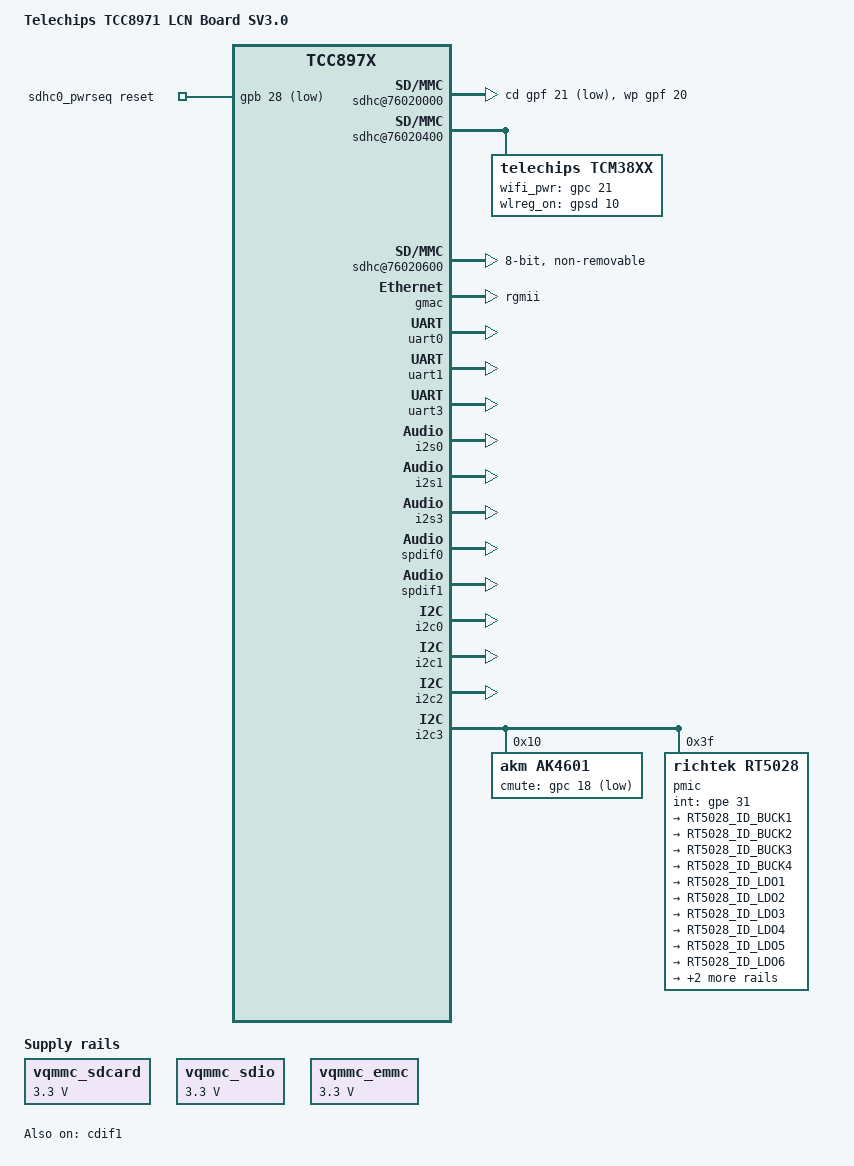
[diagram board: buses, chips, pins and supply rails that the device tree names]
// SPDX-License-Identifier: (GPL-2.0-or-later OR MIT)
/*
 * Copyright (C) Telechips Inc.
 */

/dts-v1/;

#include "tcc8971.dtsi"
#include "tcc8971-linux-display.dtsi"
#include <dt-bindings/pmap/tcc897x/pmap-tcc897x-linux-cluster.h>

/ {
	model = "Telechips TCC8971 LCN Board SV3.0";
	compatible = "telechips,tcc8971", "telechips,tcc897x";

	/* Describe board specific items, e.g. port map */

	/* for SD Card*/
	sdhc0_pwrseq: sdhc0_pwrseq {
		compatible = "mmc-pwrseq-simple";
		reset-gpios = <&gpb 28 1>;
	};

	vqmmc_sdcard: vqmmc_sdcard {
		compatible = "regulator-fixed";
		regulator-name = "vqmmc_sdcard";
		regulator-min-microvolt = <3300000>;
		regulator-max-microvolt = <3300000>;
		regulator-always-on;
	};

	/* for SDIO */
	vqmmc_sdio: vqmmc_sdio {
		compatible = "regulator-fixed";
		regulator-name = "vqmmc_sdio";
		regulator-min-microvolt = <3300000>;
		regulator-max-microvolt = <3300000>;
		regulator-always-on;
	};

	/* for eMMC */
	vqmmc_emmc: vqmmc_emmc {
		compatible = "regulator-fixed";
		regulator-name = "vqmmc_emmc";
		regulator-min-microvolt = <3300000>;
		regulator-max-microvolt = <3300000>;
		regulator-always-on;
	};

	/* SD Card Slot */
	sdhc@76020000 {
		status = "okay";
		compatible = "telechips,tcc897x-sdhci,module-only";
		controller-id = <0>;
		max-frequency = <50000000>;
		pinctrl-names = "default";
		pinctrl-0 = <&sd5_clk &sd5_cmd &sd5_bus4>;

		broken-cd;
		cd-inverted;
		keep-power-in-suspend;

		cd-gpios = <&gpf 21 0>;
		wp-gpios = <&gpf 20 0>;

		vqmmc-supply = <&vqmmc_sdcard>;
		/* Not used*/
		//mmc-pwrseq = <&sdhc0_pwrseq>;
	};

	sdhc@76020400 { // Wi-Fi tcm3840
		status = "okay";
		compatible = "telechips,tcc897x-sdhci";
		controller-id = <2>;
		pinctrl-names = "default";
		pinctrl-0 = <&sd0_clk &sd0_cmd &sd0_bus4 &out0_clk>;
		max-frequency = <50000000>;

		keep-power-in-suspend;
		cap-sdio-irq;

		vqmmc-supply = <&vqmmc_sdio>;

		cd-force-presence-change;

		tcm38xx {
			compatible = "telechips,tcm38xx";
			wifi_pwr-gpio = <&gpc 21 0>; // BT_WIFI_VBAT_EN
			wlreg_on-gpio = <&gpsd 10 0>; // WIFI_REG_ON
			//wifi_pwr_1p8v-gpio = <&gpsd1 6 0>;
			//wifi_pwr_3p3v-gpio = <&gpsd1 7 0>;
		};
	};

	sdhc@76020600 {
		status = "okay";
		compatible = "telechips,tcc897x-sdhci";
		controller-id = <3>;
		bus-width = <8>;
		max-frequency = <50000000>;
		pinctrl-names = "default";
		pinctrl-0 = <&sd3_clk &sd3_cmd &sd3_bus8>;

		non-removable;
		keep-power-in-suspend;
		disable-wp;
		mmc-ddr-3_3v;

		vqmmc-supply = <&vqmmc_emmc>;
	};

	vbus_supply_ehci: vbus_supply_ehci {
		gpios = <&gphdmi 2 0>;
	};

	vbus_supply_dwc2: vbus_supply_dwc2 {
		gpios = <&gphdmi 3 0>;
	};
	fb0: fb@0 {
		status = "okay";
	};

	dummy: dummy0 {
		status = "okay";
	};

	sound0: sound0 {};
};
&reserved_memory {
	pmap_fb_video: fb_video {
		compatible = "pmap,fb_video";
		pmap-name = "fb_video";
		status = "okay";
		reg = <FB_VIDEO_BASE PMAP_SIZE_FB_VIDEO>;
		alignment = <0x1000>;
		no-map;
	};
};

&gmac {
	status = "okay";
	phyrst-gpio = <&gpc 29 0>;
	interrupt-names = "macirq";
	phy-interface = "rgmii";
	phy-mode = "rgmii";
	//ecid-mac-addr;
	txclk-o-dly = <0>;
	txclk-o-inv = <0>;
	txclk-i-dly = <0>;
	txclk-i-inv = <0>;
	txen-dly = <0>;
	txer-dly = <0>;
	txd0-dly = <0>;
	txd1-dly = <0>;
	txd2-dly = <0>;
	txd3-dly = <0>;
	txd4-dly = <0>;
	txd5-dly = <0>;
	txd6-dly = <0>;
	txd7-dly = <0>;
	rxclk-i-dly = <0>;
	rxclk-i-inv = <0>;
	rxdv-dly = <0>;
	rxer-dly = <0>;
	rxd0-dly = <0>;
	rxd1-dly = <0>;
	rxd2-dly = <0>;
	rxd3-dly = <0>;
	rxd4-dly = <0>;
	rxd5-dly = <0>;
	rxd6-dly = <0>;
	rxd7-dly = <0>;
	crs-dly = <0>;
	col-dly = <0>;
	pinctrl-names = "default", "mii", "rmii", "gmii", "rgmii";
	pinctrl-0 = <>;
	pinctrl-1 = <&gmac1_mdc &gmac1_mdio &gmac1_col &gmac1_crs &gmac1_txer &gmac1_rxer
					&gmac1_txclk &gmac1_txen &gmac1_txd0 &gmac1_txd1 &gmac1_txd2 &gmac1_txd3
					&gmac1_rxclk &gmac1_rxdv &gmac1_rxd0 &gmac1_rxd1 &gmac1_rxd2 &gmac1_rxd3>;
	pinctrl-2 = <&gmac1_mdc &gmac1_mdio
					&gmac1_txclk &gmac1_txen &gmac1_txd0 &gmac1_txd1
					&gmac1_rxer &gmac1_rxdv &gmac1_rxd0 &gmac1_rxd1>;
	pinctrl-3 = <&gmac1_mdc &gmac1_mdio &gmac1_col &gmac1_crs &gmac1_txer &gmac1_rxer
					&gmac1_txclk &gmac1_txen &gmac1_txd0 &gmac1_txd1 &gmac1_txd2 &gmac1_txd3
					&gmac1_txd4 &gmac1_txd5 &gmac1_txd6 &gmac1_txd7
					&gmac1_rxclk &gmac1_rxdv &gmac1_rxd0 &gmac1_rxd1 &gmac1_rxd2 &gmac1_rxd3
					&gmac1_rxd4 &gmac1_rxd5 &gmac1_rxd6 &gmac1_rxd7>;
	pinctrl-4 = <&gmac1_mdc &gmac1_mdio
					&gmac1_txclk &gmac1_txen &gmac1_txd0 &gmac1_txd1 &gmac1_txd2 &gmac1_txd3
					&gmac1_rxclk &gmac1_rxdv &gmac1_rxd0 &gmac1_rxd1 &gmac1_rxd2 &gmac1_rxd3>;
};


/* console */
&uart0 {
	pinctrl-names = "default";
	pinctrl-0 = <&uart22_data>;
	port-mux = <22>;
	status = "okay";
};

/* bluetooth */
&uart1 {
	pinctrl-names = "default";
	pinctrl-0 = <&uart30_data &uart30_rtscts>;
	port-mux = <30>;
	//dmas = <&dma0 0 29 &dma0 1 30>;
	//dma-names = "tx", "rx";
	//auto-poll;
	status = "okay";
};

/* GPS */
&uart3 {
	pinctrl-names = "default";
	pinctrl-0 = <&uart10_data>;
	port-mux = <10>;
	status = "okay";
};

&pinctrl {
	/*gpg-6 is for SDR_GPIO1*/
	mdai_clks: mdai_clks{
		telechips,pins = "gpg-7", "gpg-8";
		telechips,pin-function = <1>;
	};
};

&adma0{
	status = "okay";
};

&adma1{
	status = "okay";
};

&adma3{
	status = "okay";
};

&i2s0 { /*This is for BT hw:0,2*/
	pinctrl-names = "default", "dai_mute";
	pinctrl-0 = <&mdai_clks &mdai_d0>;
	pinctrl-1 = <&mute_mdai_d0>;
	clock-frequency = <48000>;
	status = "okay";
};

&i2s1 { /*This is for MainAudio hw:0,0*/
	pinctrl-names = "default", "dai_mute";
	pinctrl-0 = <&s1dai_clks &s1dai_d0>;
	pinctrl-1 = <&mute_s1dai_d0>;
	clock-frequency = <48000>;
	status = "okay";
};

&i2s3 { /*This is for hw:0,5*/
	pinctrl-names = "default", "dai_mute";
	pinctrl-0 = <&s3dai_clks &s3dai_d0>;
	pinctrl-1 = <&mute_s3dai_d0>;
	clock-frequency = <48000>;
	status = "okay";
};

&spdif0 { /*This is for SPDIF TX1 hw:0,1*/
	pinctrl-names = "default";
	pinctrl-0 = <&mdai_spdif_tx &mdai_spdif_rx>;
	status = "okay";
};

&spdif1 { /*This is for SPDIF TX2 hw:0,3*/
	pinctrl-names = "default";
	pinctrl-0 = <&s3dai_spdif_tx>;
	status = "okay";
};

&cdif1 { /*This is for hw:0,4*/
	pinctrl-names = "default";
	pinctrl-0 = <&scdif2_clks &scdif2_d0>;
	status = "okay";
};

&sound0 {
	compatible = "telechips,snd-lcn3";
	telechips,model = "TCC8971 LCN3 Card";
	telechips,dai-controller = <&i2s1 &spdif0 &i2s0 &spdif1>;
	telechips,audio-codec = <&ak4601 &dummy &dummy &dummy>;
	status="okay";
};

&i2c0 {
	status = "okay";
	port-mux = <11>;
	pinctrl-names = "default";
	pinctrl-0 = <&i2c11_bus>;
};

&i2c1 {
	status = "okay";
	port-mux = <18>;
	pinctrl-names = "default";
	pinctrl-0 = <&i2c18_bus>;
};

&i2c2 {
	status = "okay";
	port-mux = <23>;
	pinctrl-names = "default";
	pinctrl-0 = <&i2c23_bus>;
};


&i2c3 {
	status = "okay";
	port-mux = <12>;
	pinctrl-names = "default";
	pinctrl-0 = <&i2c12_bus>;

	ak4601: ak4601@10 {
		compatible = "akm,ak4601";
		//ak4601,pdn-gpio = <&gpe 4 1>;
		cmute-gpios = <&gpc 18 1>;
		//CODEC_MUTE 0: active high, 1: active low
		//amute-gpios = <&gpc 18 0>;
		//AMP_MUTE 0: active high, 1: active low
		//stanby-gpios = <&gpc 16 0>;
		//AMP_STBY 0: active high, 1: active low
		reg = <0x10>;
	};

	pmic: rt5028@3f {
		compatible = "richtek,rt5028";
		reg = <0x3f>;
		pinctrl-names = "default";
		pinctrl-0 = <&pmic_irq>;
		int-gpios = <&gpe 31 0>;
		regulators {
			RT5028_ID_BUCK1: buck1 {
				regulator-name = "vdd_core";
				regulator-always-on;
			};
			RT5028_ID_BUCK2: buck2 {
				regulator-name = "vdd_mem";
				regulator-always-on;
			};
			RT5028_ID_BUCK3: buck3 {
				regulator-name = "vdd_cpu";
				regulator-always-on;
			};
			RT5028_ID_BUCK4: buck4 {
				regulator-name = "vdd_io3v3";
				regulator-always-on;
			};
			RT5028_ID_LDO1: ldo1 {
				regulator-name = "vd2_core";
				regulator-always-on;
			};
			RT5028_ID_LDO2: ldo2 {
				regulator-name = "vdd_io1v8";
				regulator-always-on;
			};
			RT5028_ID_LDO3: ldo3 {
				regulator-name = "vdd_btwifi";
				regulator-always-on;
			};
			RT5028_ID_LDO4: ldo4 {
				regulator-name = "vdd_vbat";
				regulator-always-on;
			};
			RT5028_ID_LDO5: ldo5 {
				regulator-name = "vdd_gps";
				regulator-always-on;
			};
			RT5028_ID_LDO6: ldo6 {
				regulator-name = "vd1_io";
				regulator-always-on;
			};
			RT5028_ID_LDO7: ldo7 {
				regulator-name = "vd1_core";
				regulator-always-on;
			};
			RT5028_ID_LDO8: ldo8 {
				regulator-name = "vd2_io";
				regulator-always-on;
			};
		};
	};
};
